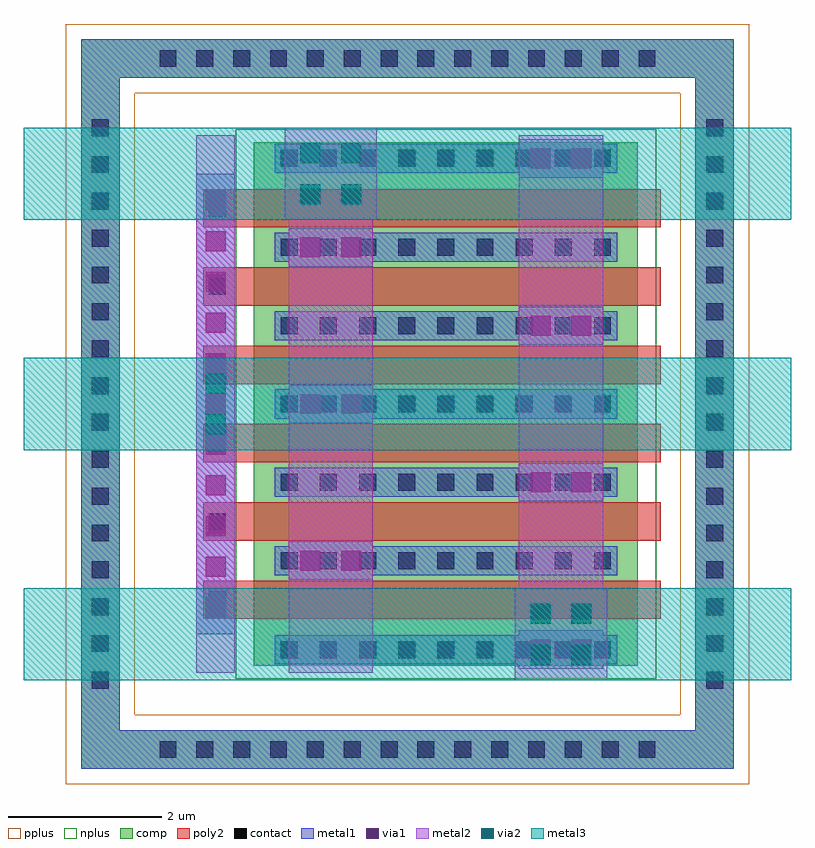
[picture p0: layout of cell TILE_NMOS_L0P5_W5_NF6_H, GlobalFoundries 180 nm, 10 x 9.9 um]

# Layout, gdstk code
from math import pi, radians
import gdstk
lib = gdstk.Library(unit=1e-6, precision=1e-09)
def R(c, l, rs):  # rectangles x0, y0, x1, y1
    for r in rs: c.add(gdstk.rectangle(r[:2], r[2:], *l))
def A(c, l, x, y, w, h, nx, ny, dx, dy):  # array of equal rectangles
    R(c, l, [(x+i*dx, y+j*dy, x+i*dx+w, y+j*dy+h) for i in range(nx) for j in range(ny)])
comp = (22, 0)
poly2 = (30, 0)
pplus = (31, 0)
nplus = (32, 0)
contact = (33, 0)
metal1 = (34, 0)
via1 = (35, 0)
metal2 = (36, 0)
via2 = (38, 0)
metal3 = (42, 0)

via_dev = lib.new_cell('via_dev')

via_dev_8 = lib.new_cell('via_dev$8')
R(via_dev_8, comp, [(0,0,0.5,7)])
A(via_dev_8, contact, 0.14, 0.27, 0.22, 0.22, 1, 14, 0, 0.48)
R(via_dev_8, metal1, [(0,0,0.5,7)])

via_dev_9 = lib.new_cell('via_dev$9')
R(via_dev_9, comp, [(0,0,8,0.5)])
A(via_dev_9, contact, 0.29, 0.14, 0.22, 0.22, 16, 1, 0.48, 0)
R(via_dev_9, metal1, [(0,0,8,0.5)])

nfet = lib.new_cell('nfet')
R(nfet, comp, [(-0.42,0,0,5), (0,0,5.98,5), (5.98,0,6.4,5)])
A(nfet, poly2, 0.19, -0.3, 0.5, 5.6, 6, 1, 1.02, 0)
A(nfet, poly2, 0.19, 5.3, 0.5, 0.36, 6, 1, 1.02, 0)
R(nfet, nplus, [(-0.59,-0.24,6.57,5.24)])
A(nfet, contact, -0.32, 0.35, 0.22, 0.22, 1, 9, 0, 0.51)
A(nfet, contact, 0.84, 0.35, 0.22, 0.22, 5, 9, 1.02, 0.51)
A(nfet, contact, 6.08, 0.35, 0.22, 0.22, 1, 9, 0, 0.51)
A(nfet, contact, 0.33, 5.37, 0.22, 0.22, 6, 1, 1.02, 0)
A(nfet, metal1, 0.76, 0.27, 0.38, 4.46, 5, 1, 1.02, 0)
A(nfet, metal1, 0.25, 5.289, 0.38, 0.382, 6, 1, 1.02, 0)
R(nfet, metal1, [(-0.4,0.27,-0.02,4.73), (6,0.27,6.38,4.73)])

via_dev_10 = lib.new_cell('via_dev$10')
R(via_dev_10, metal1, [(0,0,0.5,1.1)])
R(via_dev_10, via1, [(0.12,0.155,0.38,0.415), (0.12,0.685,0.38,0.945)])
R(via_dev_10, metal2, [(0,0,0.5,1.1)])

via_dev_11 = lib.new_cell('via_dev$11')
R(via_dev_11, metal1, [(0,0,6,0.5)])
A(via_dev_11, via1, 0.22, 0.12, 0.26, 0.26, 11, 1, 0.53, 0)
R(via_dev_11, metal2, [(0,0,6,0.5)])

tile_nmos_l0p5_w5_nf6_1 = lib.new_cell('TILE_NMOS_L0P5_W5_NF6$1')
tile_nmos_l0p5_w5_nf6_1.add(gdstk.FlexPath([(-4.5,8.25),(-4.5,-0.25)], 0.5, ends="flush", simple_path=True, layer=34, datatype=0))  # metal1
tile_nmos_l0p5_w5_nf6_1.add(gdstk.FlexPath([(4.5,8.25),(4.5,-0.25)], 0.5, ends="flush", simple_path=True, layer=34, datatype=0))  # metal1
tile_nmos_l0p5_w5_nf6_1.add(gdstk.FlexPath([(-4.75,8),(4.75,8)], 0.5, ends="flush", simple_path=True, layer=34, datatype=0))  # metal1
tile_nmos_l0p5_w5_nf6_1.add(gdstk.FlexPath([(-4.75,0),(4.75,0)], 0.5, ends="flush", simple_path=True, layer=34, datatype=0))  # metal1
tile_nmos_l0p5_w5_nf6_1.add(gdstk.FlexPath([(-3,6.5),(3,6.5)], 0.5, ends="flush", simple_path=True, layer=34, datatype=0))  # metal1
tile_nmos_l0p5_w5_nf6_1.add(gdstk.FlexPath([(4.5,8.25),(4.5,-0.25)], 0.5, ends="flush", simple_path=True, layer=22, datatype=0))  # comp
tile_nmos_l0p5_w5_nf6_1.add(gdstk.FlexPath([(-4.5,8.25),(-4.5,-0.25)], 0.5, ends="flush", simple_path=True, layer=22, datatype=0))  # comp
tile_nmos_l0p5_w5_nf6_1.add(gdstk.FlexPath([(-4.75,8),(4.75,8)], 0.5, ends="flush", simple_path=True, layer=22, datatype=0))  # comp
tile_nmos_l0p5_w5_nf6_1.add(gdstk.FlexPath([(-4.75,0),(4.75,0)], 0.5, ends="flush", simple_path=True, layer=22, datatype=0))  # comp
tile_nmos_l0p5_w5_nf6_1.add(gdstk.FlexPath([(-3.5,2),(3.5,2)], 1.1, ends="flush", simple_path=True, layer=36, datatype=0))  # metal2
tile_nmos_l0p5_w5_nf6_1.add(gdstk.FlexPath([(-3.5,5),(3.5,5)], 1.1, ends="flush", simple_path=True, layer=36, datatype=0))  # metal2
tile_nmos_l0p5_w5_nf6_1.add(gdstk.FlexPath([(-3.5,6.5),(3.5,6.5)], 0.5, ends="flush", simple_path=True, layer=36, datatype=0))  # metal2
tile_nmos_l0p5_w5_nf6_1.add(gdstk.FlexPath([(-4.95,8),(4.95,8)], 0.9, ends="flush", simple_path=True, layer=31, datatype=0))  # pplus
tile_nmos_l0p5_w5_nf6_1.add(gdstk.FlexPath([(-4.95,0),(4.95,0)], 0.9, ends="flush", simple_path=True, layer=31, datatype=0))  # pplus
tile_nmos_l0p5_w5_nf6_1.add(gdstk.FlexPath([(-4.95,8),(4.95,8)], 0.9, ends="flush", simple_path=True, layer=31, datatype=0))  # pplus
tile_nmos_l0p5_w5_nf6_1.add(gdstk.FlexPath([(4.5,0),(4.5,8)], 0.9, ends="flush", simple_path=True, layer=31, datatype=0))  # pplus
tile_nmos_l0p5_w5_nf6_1.add(gdstk.FlexPath([(-4.5,0),(-4.5,8)], 0.9, ends="flush", simple_path=True, layer=31, datatype=0))  # pplus
tile_nmos_l0p5_w5_nf6_1.add(gdstk.Reference(via_dev, (-0.62,-0.915)))
tile_nmos_l0p5_w5_nf6_1.add(gdstk.Reference(via_dev_8, (-4.75,0.5)))
tile_nmos_l0p5_w5_nf6_1.add(gdstk.Reference(via_dev_8, (4.25,0.5)))
tile_nmos_l0p5_w5_nf6_1.add(gdstk.Reference(via_dev_9, (-4,-0.25)))
tile_nmos_l0p5_w5_nf6_1.add(gdstk.Reference(nfet, (-2.99,1)))
tile_nmos_l0p5_w5_nf6_1.add(gdstk.Reference(via_dev_10, (-3.45,1.45)))
tile_nmos_l0p5_w5_nf6_1.add(gdstk.Reference(via_dev_10, (-1.27,1.45)))
tile_nmos_l0p5_w5_nf6_1.add(gdstk.Reference(via_dev_10, (0.77,1.45)))
tile_nmos_l0p5_w5_nf6_1.add(gdstk.Reference(via_dev_10, (2.95,1.45)))
tile_nmos_l0p5_w5_nf6_1.add(gdstk.Reference(via_dev_10, (1.79,4.45)))
tile_nmos_l0p5_w5_nf6_1.add(gdstk.Reference(via_dev_10, (-0.25,4.45)))
tile_nmos_l0p5_w5_nf6_1.add(gdstk.Reference(via_dev_10, (-2.29,4.45)))
tile_nmos_l0p5_w5_nf6_1.add(gdstk.Reference(via_dev_11, (-3,6.25)))
tile_nmos_l0p5_w5_nf6_1.add(gdstk.Reference(via_dev_9, (-4,7.75)))

via_dev_5 = lib.new_cell('via_dev$5')
R(via_dev_5, metal2, [(0,0,1.2,1.2)])
R(via_dev_5, via2, [(0.205,0.205,0.465,0.465), (0.735,0.205,0.995,0.465), (0.205,0.735,0.465,0.995), (0.735,0.735,0.995,0.995)])
R(via_dev_5, metal3, [(0,0,1.2,1.2)])

via_dev_6 = lib.new_cell('via_dev$6')
R(via_dev_6, metal2, [(0,0,0.5,1.2)])
R(via_dev_6, via2, [(0.12,0.205,0.38,0.465), (0.12,0.735,0.38,0.995)])
R(via_dev_6, metal3, [(0,0,0.5,1.2)])

tile_nmos_l0p5_w5_nf6_h = lib.new_cell('TILE_NMOS_L0P5_W5_NF6_H')
tile_nmos_l0p5_w5_nf6_h.add(gdstk.FlexPath([(-9,3),(1,3)], 1.2, ends="flush", simple_path=True, layer=42, datatype=0))  # metal3
tile_nmos_l0p5_w5_nf6_h.add(gdstk.FlexPath([(-9,0),(1,0)], 1.2, ends="flush", simple_path=True, layer=42, datatype=0))  # metal3
tile_nmos_l0p5_w5_nf6_h.add(gdstk.FlexPath([(-9,-3),(1,-3)], 1.2, ends="flush", simple_path=True, layer=42, datatype=0))  # metal3
tile_nmos_l0p5_w5_nf6_h.add(gdstk.Reference(tile_nmos_l0p5_w5_nf6_1, (0,0), rotation=pi/2))
tile_nmos_l0p5_w5_nf6_h.add(gdstk.Reference(via_dev_5, (-5.6,2.4)))
tile_nmos_l0p5_w5_nf6_h.add(gdstk.Reference(via_dev_5, (-2.6,-3.6)))
tile_nmos_l0p5_w5_nf6_h.add(gdstk.Reference(via_dev_6, (-6.75,-0.6)))

lib.write_gds('TILE_NMOS_L0P5_W5_NF6_H.gds')
